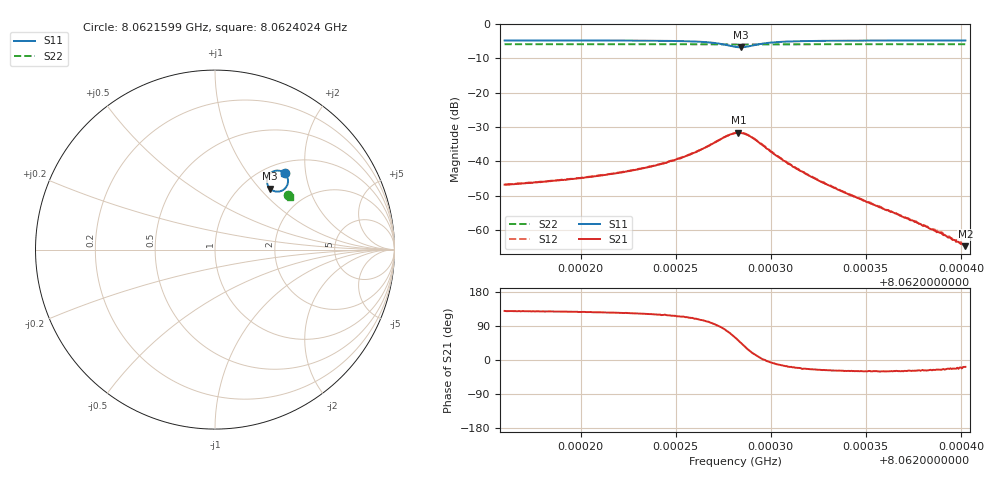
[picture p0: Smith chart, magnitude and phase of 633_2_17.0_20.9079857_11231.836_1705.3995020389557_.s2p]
#  HZ  S  RI  R  50.00
! Rohde & Schwarz Vector Network Analyzer
! Rohde-Schwarz,ZNB20-2Port,1311601062101988,3.16
! Created: UTC 3/20/2024, 11:20:25 PM
! freq[Hz]  re:S11  im:S11  re:S21  im:S21  re:S12  im:S12  re:S22  im:S22
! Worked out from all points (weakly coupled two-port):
!   401 points, 8.0621599 GHz to 8.0624024 GHz, reference 50 ohm
!   highest |S21| = -31.69 dB at 8.062283 GHz (marker M1); lowest = -64.7 dB at 8.0624024 GHz (marker M2)
!   lowest |S11| = -6.8 dB at 8.0622842 GHz (marker M3), VSWR 2.69, Z = 66.6 + j57.1 ohm
!   |S11| at or under -10 dB: nowhere
!   |S22| runs from -6.0 to -5.9 dB; largest |S21 - S12| = 0.0015
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8.06215992e9  0.3887 0.4247  -0.0029 0.00353  -0.00267 0.00372  0.4081 0.3028
8.06220053e9  0.3945 0.4181  -0.00343 0.00461  -0.00318 0.00482  0.4094 0.3005
8.06222295e9  0.3987 0.4118  -0.0039 0.0058  -0.00363 0.00609  0.4104 0.299
8.06224114e9  0.4031 0.4023  -0.00448 0.00779  -0.004 0.00808  0.411 0.2977
8.06225326e9  0.4062 0.3901  -0.00469 0.0103  -0.00408 0.0107  0.4114 0.2966
8.06226053e9  0.4067 0.3777  -0.00447 0.0128  -0.00365 0.0133  0.4115 0.2956
8.06226841e9  0.4012 0.3565  -0.00251 0.0173  -0.00149 0.0175  0.4113 0.2944
8.06227569e9  0.3763 0.3301  0.00355 0.0223  0.00484 0.022  0.41 0.2934
8.06228114e9  0.3336 0.3247  0.013 0.022  0.0141 0.0217  0.4083 0.2933
8.06228296e9  0.3173 0.3314  0.0163 0.0203  0.0175 0.0196  0.4078 0.2938
8.06228417e9  0.308 0.3388  0.0182 0.0184  0.0193 0.0177  0.4076 0.2942
8.0622866e9  0.2943 0.3578  0.0206 0.014  0.0216 0.0131  0.4073 0.295
8.06228902e9  0.2893 0.3789  0.0213 0.00928  0.0219 0.00832  0.4074 0.2958
8.06229811e9  0.3118 0.4277  0.0151 -0.000851  0.0153 -0.00175  0.4094 0.2973
8.06230781e9  0.3375 0.4393  0.00946 -0.00276  0.00944 -0.00336  0.411 0.2969
8.06232175e9  0.3571 0.4398  0.00534 -0.00242  0.00527 -0.00279  0.4122 0.2961
8.06234115e9  0.3697 0.4363  0.00286 -0.00157  0.00282 -0.00179  0.4134 0.2948
8.06236236e9  0.377 0.4329  0.00163 -0.00093  0.0016 -0.00102  0.4143 0.2936
8.06238903e9  0.3826 0.4297  0.000819 -0.000389  0.000812 -0.00043  0.4154 0.2921
8.0623957e9  0.3836 0.4289  0.000664 -0.000277  0.00065 -0.00031  0.4156 0.2915
8.06240055e9  0.3842 0.4285  0.000588 -0.000239  0.000561 -0.000296  0.4159 0.2913
8.06240237e9  0.3845 0.4283  0.000551 -0.000181  0.000575 -0.000231  0.4159 0.2913
